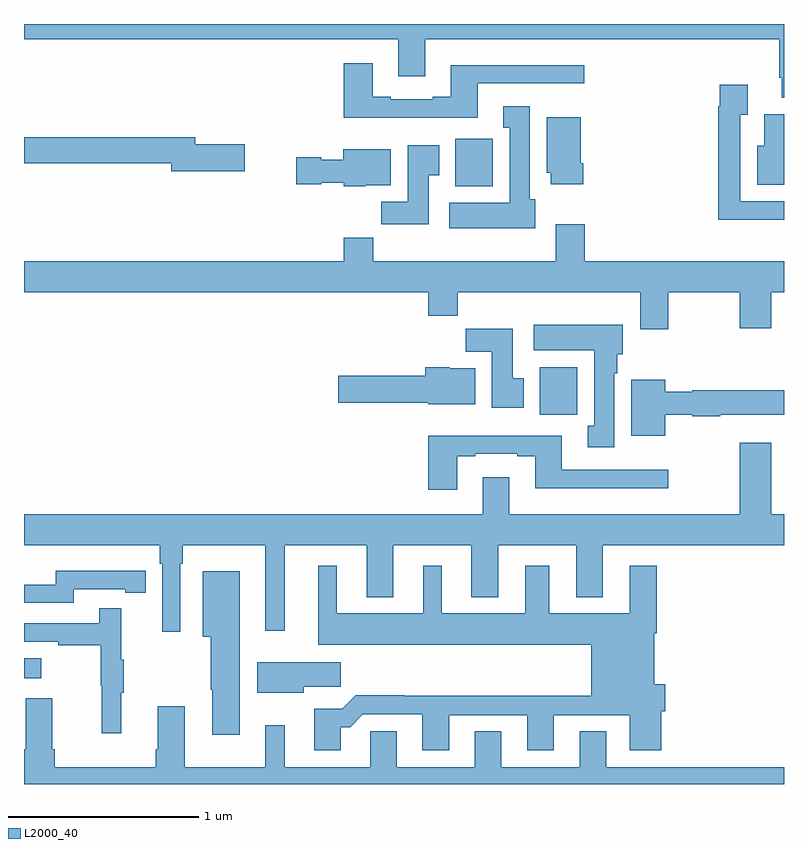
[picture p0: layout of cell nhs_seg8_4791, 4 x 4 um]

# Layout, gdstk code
import gdstk
lib = gdstk.Library(unit=1e-6, precision=1e-09)
def R(c, l, rs):  # rectangles x0, y0, x1, y1
    for r in rs: c.add(gdstk.rectangle(r[:2], r[2:], *l))
def P(c, l, *ps):  # polygons
    for p in ps: c.add(gdstk.Polygon(p, *l))
L2000_40 = (2000, 40)

nhs_seg8_4791 = lib.new_cell('nhs_seg8_4791')
R(nhs_seg8_4791, L2000_40, [(401,1126.457,401.092,1126.561), (403.715,1127.844,403.911,1128.094), (403.271,1129.046,403.467,1129.297)])
P(nhs_seg8_4791, L2000_40, [(405,1129.9),(401,1129.9),(401,1129.82),(402.971,1129.82),(402.971,1129.626),(403.111,1129.626),(403.111,1129.82),(404.975,1129.82),(404.975,1129.618),(404.987,1129.618),(404.987,1129.511),(405,1129.511)],
  [(403.387,1129.587),(403.948,1129.587),(403.948,1129.684),(403.247,1129.684),(403.247,1129.516),(403.151,1129.516),(403.151,1129.503),(402.931,1129.503),(402.931,1129.516),(402.835,1129.516),(402.835,1129.693),(402.683,1129.693),(402.683,1129.406),(403.387,1129.406)],
  [(404.945,1128.87),(405,1128.87),(405,1128.966),(404.769,1128.966),(404.769,1129.423),(404.809,1129.423),(404.809,1129.579),(404.661,1129.579),(404.661,1129.466),(404.653,1129.466),(404.653,1128.869),(404.945,1128.869)],
  [(403.69,1128.978),(403.663,1128.978),(403.663,1129.468),(403.523,1129.468),(403.523,1129.355),(403.556,1129.355),(403.556,1128.958),(403.239,1128.958),(403.239,1128.824),(403.69,1128.824)],
  [(405,1129.426),(404.897,1129.426),(404.897,1129.258),(404.858,1129.258),(404.858,1129.055),(405,1129.055)],
  [(403.943,1129.168),(403.93,1129.168),(403.93,1129.408),(403.751,1129.408),(403.751,1129.116),(403.772,1129.116),(403.772,1129.056),(403.943,1129.056)],
  [(402.163,1129.268),(401.902,1129.268),(401.902,1129.304),(401,1129.304),(401,1129.168),(401.774,1129.168),(401.774,1129.126),(402.163,1129.126)],
  [(403.129,1129.105),(403.186,1129.105),(403.186,1129.261),(403.019,1129.261),(403.019,1128.964),(402.88,1128.964),(402.88,1128.846),(403.129,1128.846)],
  [(402.798,1129.052),(402.931,1129.052),(402.931,1129.24),(402.68,1129.24),(402.68,1129.186),(402.564,1129.186),(402.564,1129.199),(402.432,1129.199),(402.432,1129.057),(402.564,1129.057),(402.564,1129.064),(402.684,1129.064),(402.684,1129.046),(402.798,1129.046)],
  [(403.799,1128.847),(403.799,1128.652),(402.839,1128.652),(402.839,1128.776),(402.683,1128.776),(402.683,1128.652),(401,1128.652),(401,1128.488),(403.127,1128.488),(403.127,1128.364),(403.283,1128.364),(403.283,1128.488),(404.243,1128.488),(404.243,1128.294),(404.391,1128.294),(404.391,1128.488),(404.768,1128.488),(404.768,1128.3),(404.932,1128.3),(404.932,1128.488),(405,1128.488),(405,1128.652),(403.952,1128.652),(403.952,1128.847)],
  [(404.107,1128.062),(404.122,1128.062),(404.122,1128.162),(404.152,1128.162),(404.152,1128.316),(403.683,1128.316),(403.683,1128.182),(404,1128.182),(404,1127.785),(403.967,1127.785),(403.967,1127.673),(404.107,1127.673)],
  [(403.63,1128.036),(403.573,1128.036),(403.573,1128.295),(403.324,1128.295),(403.324,1128.176),(403.463,1128.176),(403.463,1127.88),(403.63,1127.88)],
  [(403.375,1128.088),(403.242,1128.088),(403.242,1128.094),(403.112,1128.094),(403.112,1128.048),(402.654,1128.048),(402.654,1127.906),(403.128,1127.906),(403.128,1127.9),(403.375,1127.9)],
  [(404.374,1127.844),(404.517,1127.844),(404.517,1127.836),(404.664,1127.836),(404.664,1127.843),(405,1127.843),(405,1127.973),(404.517,1127.973),(404.517,1127.965),(404.374,1127.965),(404.374,1128.028),(404.195,1128.028),(404.195,1127.732),(404.374,1127.732)],
  [(403.279,1127.625),(403.375,1127.625),(403.375,1127.637),(403.595,1127.637),(403.595,1127.625),(403.691,1127.625),(403.691,1127.456),(404.392,1127.456),(404.392,1127.553),(403.831,1127.553),(403.831,1127.734),(403.127,1127.734),(403.127,1127.448),(403.279,1127.448)],
  [(401,1127.156),(401.714,1127.156),(401.714,1127.06),(401.727,1127.06),(401.727,1126.701),(401.823,1126.701),(401.823,1127.06),(401.836,1127.06),(401.836,1127.156),(402.269,1127.156),(402.269,1126.707),(402.373,1126.707),(402.373,1127.156),(402.803,1127.156),(402.803,1126.883),(402.943,1126.883),(402.943,1127.156),(403.355,1127.156),(403.355,1126.883),(403.495,1126.883),(403.495,1127.156),(403.907,1127.156),(403.907,1126.883),(404.047,1126.883),(404.047,1127.156),(405,1127.156),(405,1127.32),(404.932,1127.32),(404.932,1127.695),(404.768,1127.695),(404.768,1127.32),(403.555,1127.32),(403.555,1127.515),(403.415,1127.515),(403.415,1127.32),(401,1127.32)],
  [(402.667,1126.199),(402.716,1126.199),(402.783,1126.266),(403.097,1126.266),(403.097,1126.077),(403.237,1126.077),(403.237,1126.263),(403.649,1126.263),(403.649,1126.077),(403.789,1126.077),(403.789,1126.263),(404.189,1126.263),(404.189,1126.077),(404.354,1126.077),(404.354,1126.282),(404.374,1126.282),(404.374,1126.424),(404.317,1126.424),(404.317,1126.694),(404.33,1126.694),(404.33,1127.05),(404.189,1127.05),(404.189,1126.798),(403.765,1126.798),(403.765,1127.05),(403.637,1127.05),(403.637,1126.798),(403.198,1126.798),(403.198,1127.05),(403.1,1127.05),(403.1,1126.798),(402.646,1126.798),(402.646,1127.05),(402.548,1127.05),(402.548,1126.634),(403.985,1126.634),(403.985,1126.364),(403.001,1126.364),(403.001,1126.367),(402.746,1126.367),(402.676,1126.297),(402.527,1126.297),(402.527,1126.077),(402.667,1126.077)],
  [(401.262,1126.926),(401.534,1126.926),(401.534,1126.906),(401.642,1126.906),(401.642,1127.022),(401.534,1127.022),(401.534,1127.023),(401.166,1127.023),(401.166,1126.95),(401,1126.95),(401,1126.854),(401.262,1126.854)],
  [(402.136,1127.02),(401.942,1127.02),(401.942,1126.676),(401.983,1126.676),(401.983,1126.396),(401.99,1126.396),(401.99,1126.158),(402.136,1126.158)],
  [(401.513,1126.379),(401.524,1126.379),(401.524,1126.553),(401.513,1126.553),(401.513,1126.825),(401.395,1126.825),(401.395,1126.746),(401,1126.746),(401,1126.65),(401.179,1126.65),(401.179,1126.63),(401.403,1126.63),(401.403,1126.416),(401.41,1126.416),(401.41,1126.167),(401.513,1126.167)],
  [(402.472,1126.411),(402.667,1126.411),(402.667,1126.54),(402.228,1126.54),(402.228,1126.379),(402.472,1126.379)],
  [(405,1125.988),(404.065,1125.988),(404.065,1126.178),(403.925,1126.178),(403.925,1125.988),(403.513,1125.988),(403.513,1126.178),(403.373,1126.178),(403.373,1125.988),(402.961,1125.988),(402.961,1126.178),(402.822,1126.178),(402.822,1125.988),(402.373,1125.988),(402.373,1126.21),(402.269,1126.21),(402.269,1125.988),(401.845,1125.988),(401.845,1126.309),(401.705,1126.309),(401.705,1126.084),(401.693,1126.084),(401.693,1125.988),(401.162,1125.988),(401.162,1126.084),(401.149,1126.084),(401.149,1126.351),(401.009,1126.351),(401.009,1126.084),(401,1126.084),(401,1125.9),(405,1125.9)])

lib.write_gds('nhs_seg8_4791.gds')
